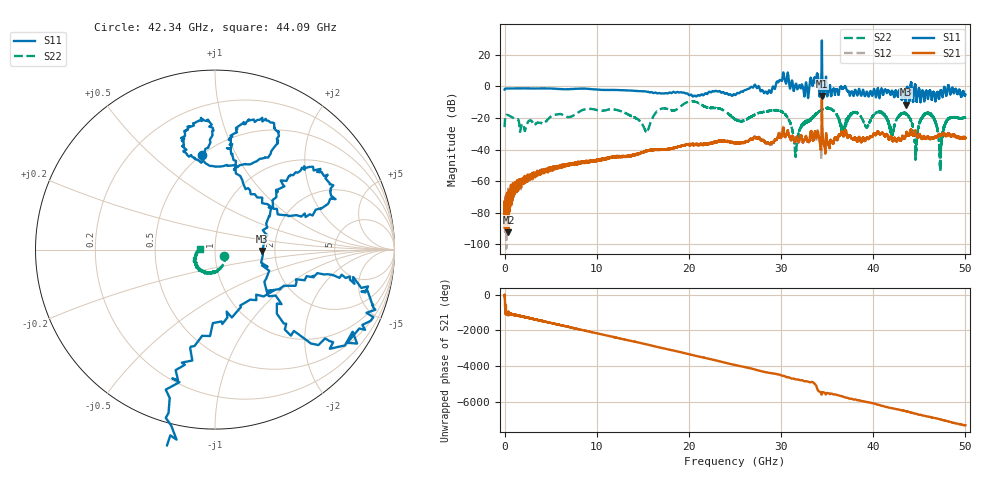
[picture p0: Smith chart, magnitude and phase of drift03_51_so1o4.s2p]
!Created with skrf (http://scikit-rf.org).
# Hz S RI R 50.0
!freq ReS11 ImS11 ReS21 ImS21 ReS12 ImS12 ReS22 ImS22
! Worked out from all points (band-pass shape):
!   10000 points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, 5.3 MHz to 50 GHz, reference 50 ohm
!   highest |S21| = -6.07 dB at 34.43 GHz (marker M1); lowest = -92.3 dB at 420.3 MHz (marker M2)
!   |S21| within 3 dB of the highest: 34.42768 GHz to 34.43441 GHz (6.727 MHz wide, 0.0195 % of centre)
!   lowest |S11| = -11.6 dB at 43.52 GHz (marker M3), VSWR 1.72, Z = 85.7 - j1.42 ohm
!   |S11| at or under -10 dB: 43.4898 GHz to 43.54426 GHz (54.46 MHz wide, 0.125 % of centre); 44.31476 GHz to 44.3152 GHz (441.2 kHz wide, 0.000996 % of centre); 45.136 GHz to 45.14137 GHz (5.378 MHz wide, 0.0119 % of centre)
!   |S22| runs from -54.1 to -9.4 dB; largest |S21 - S12| = 0.15
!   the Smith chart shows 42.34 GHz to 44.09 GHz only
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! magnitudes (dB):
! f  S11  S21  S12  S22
! 5.3 MHz  -2.1  -89.1  -72.0  -25.8
! 420.3 MHz  -1.4  -92.3  -67.5  -18.4
! 2.195 GHz  -1.3  -57.7  -59.2  -28.2
! 8.34 GHz  -1.5  -48.3  -48.2  -15.3
! 15.39 GHz  -3.5  -41.1  -40.8  -28.9
! 16.67 GHz  -4.4  -40.1  -40.0  -15.3
! 20.47 GHz  -6.5  -36.6  -36.8  -9.5
! 25.01 GHz  -5.5  -36.0  -35.9  -20.8
! 29.95 GHz  3.9  -32.8  -31.9  -15.6
! 31.59 GHz  1.4  -33.8  -34.0  -44.1
! 33.34 GHz  2.6  -30.3  -30.5  -20.3
! 34.43 GHz  28.9  -6.1  -8.0  -14.6
! 36.68 GHz  -1.5  -29.6  -29.6  -30.1
! 37.98 GHz  -2.8  -32.4  -32.3  -16.4
! 41.67 GHz  -3.0  -33.3  -33.4  -22.8
! 43.52 GHz  -11.6  -31.2  -31.4  -17.3
! 44.62 GHz  -2.4  -29.4  -29.3  -44.9
! 45.31 GHz  -3.2  -33.3  -33.3  -19.9
! 46.28 GHz  -5.8  -32.8  -32.8  -17.2
! 47.29 GHz  -3.0  -30.4  -31.0  -54.1
! 48.12 GHz  0.4  -30.1  -30.0  -21.3
! 50 GHz  -5.3  -32.5  -32.4  -19.5
